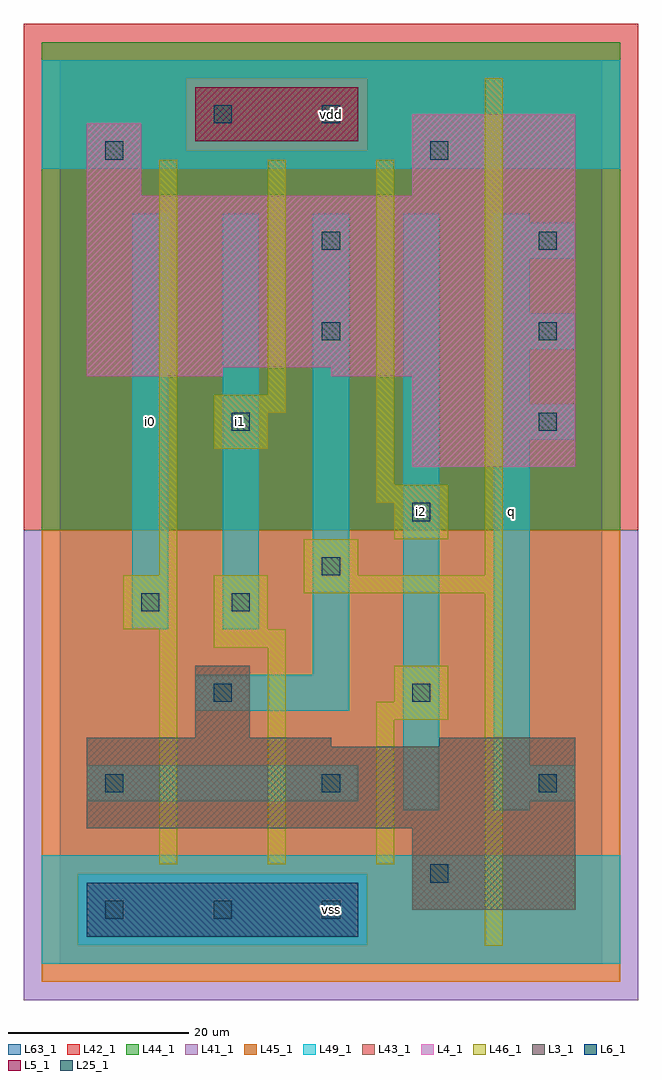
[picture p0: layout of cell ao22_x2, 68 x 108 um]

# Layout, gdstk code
import gdstk
lib = gdstk.Library(unit=1e-6, precision=1e-09)
def R(c, l, rs):  # rectangles x0, y0, x1, y1
    for r in rs: c.add(gdstk.rectangle(r[:2], r[2:], *l))
def A(c, l, x, y, w, h, nx, ny, dx, dy):  # array of equal rectangles
    R(c, l, [(x+i*dx, y+j*dy, x+i*dx+w, y+j*dy+h) for i in range(nx) for j in range(ny)])
L3_1 = (3, 1)
L4_1 = (4, 1)
L5_1 = (5, 1)
L6_1 = (6, 1)
L25_1 = (25, 1)
L41_1 = (41, 1)
L42_1 = (42, 1)
L43_1 = (43, 1)
L44_1 = (44, 1)
L45_1 = (45, 1)
L46_1 = (46, 1)
L49_1 = (49, 1)
L63_1 = (63, 1)

ao22_x2 = lib.new_cell('ao22_x2')
R(ao22_x2, L3_1, [(39,6,57,15), (3,15,57,24), (3,24,30,25), (42,24,57,25), (15,25,21,33)])
R(ao22_x2, L4_1, [(39,55,57,65), (3,65,18,66), (30,65,57,66), (3,66,57,85), (3,85,9,93), (39,85,57,94)])
R(ao22_x2, L5_1, [(15,91,33,97)])
R(ao22_x2, L6_1, [(3,3,33,9), (3,3,33,9)])
A(ao22_x2, L25_1, 5, 5, 2, 2, 3, 1, 12, 0)
A(ao22_x2, L25_1, 5, 19, 2, 2, 3, 1, 24, 0)
A(ao22_x2, L25_1, 53, 59, 2, 2, 1, 3, 0, 10)
R(ao22_x2, L25_1, [(41,9,43,11), (17,29,19,31), (39,29,41,31), (9,39,11,41), (19,39,21,41), (29,43,31,45), (39,49,41,51), (19,59,21,61), (29,69,31,71), (29,79,31,81), (5,89,7,91), (41,89,43,91), (17,93,19,95), (29,93,31,95)])
R(ao22_x2, L41_1, [(-4,-4,64,48)])
R(ao22_x2, L42_1, [(-4,48,64,104)])
R(ao22_x2, L43_1, [(3,3,33,9), (39,6,57,15), (3,15,57,24), (3,24,30,25), (42,24,57,25), (15,25,21,33), (39,55,57,65), (3,65,18,66), (30,65,57,66), (3,66,57,85), (3,85,9,93), (39,85,57,94), (15,91,33,97)])
R(ao22_x2, L44_1, [(2,2,34,10), (-2,48,62,90), (-2,90,14,98), (34,90,62,98), (-2,98,62,102)])
R(ao22_x2, L45_1, [(-2,-2,62,2), (-2,2,2,10), (34,2,62,10), (-2,10,62,48), (14,90,34,98)])
R(ao22_x2, L46_1, [(47,2,49,41), (11,11,13,37), (23,11,25,35), (35,11,37,27), (35,27,43,29), (37,29,43,33), (17,35,25,37), (7,37,13,43), (17,37,23,43), (27,41,49,43), (11,43,13,89), (27,43,33,47), (47,43,49,98), (37,47,43,51), (35,51,43,53), (35,53,37,89), (17,57,23,61), (17,61,25,63), (23,63,25,89)])
A(ao22_x2, L49_1, 48, 58, 9, 4, 1, 3, 0, 10)
R(ao22_x2, L49_1, [(-2,0,62,12), (38,17,42,83), (48,17,52,18), (3,18,33,22), (48,18,57,22), (48,22,52,58), (15,28,32,32), (28,32,32,83), (8,37,12,83), (18,37,22,83), (48,62,52,68), (48,72,52,78), (48,82,52,83), (-2,88,62,100)])
R(ao22_x2, L63_1, [(0,0,60,100)])
ao22_x2.add(gdstk.Label('i0', (10,60), layer=49, texttype=1))
ao22_x2.add(gdstk.Label('i1', (20,60), layer=49, texttype=1))
ao22_x2.add(gdstk.Label('vss', (30,6), layer=49, texttype=1))
ao22_x2.add(gdstk.Label('i2', (40,50), layer=49, texttype=1))
ao22_x2.add(gdstk.Label('vdd', (30,94), layer=49, texttype=1))
ao22_x2.add(gdstk.Label('q', (50,50), layer=49, texttype=1))

lib.write_gds('ao22_x2.gds')
